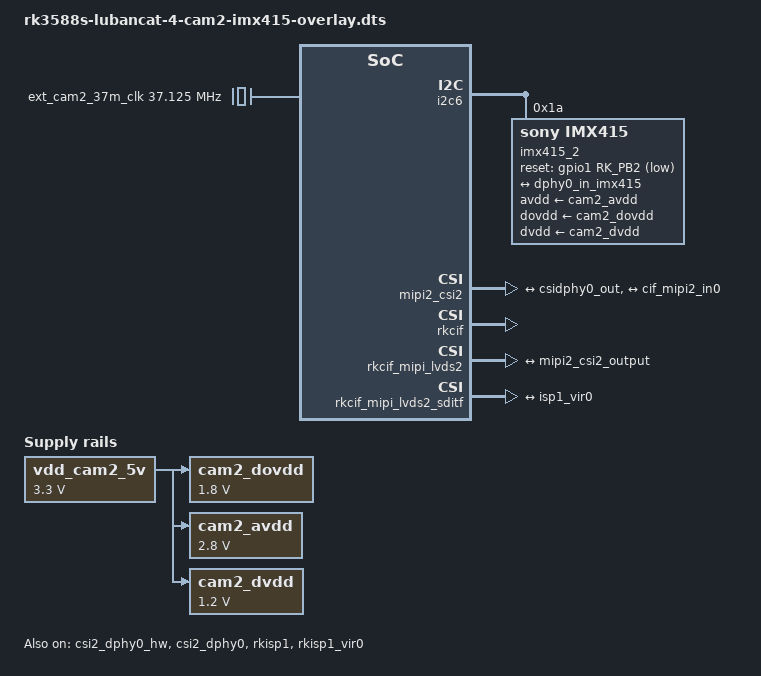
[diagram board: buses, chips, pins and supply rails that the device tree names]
/dts-v1/;
/plugin/;

#include <dt-bindings/usb/pd.h>
#include <dt-bindings/gpio/gpio.h>
#include <dt-bindings/pwm/pwm.h>
#include <dt-bindings/pinctrl/rockchip.h>
#include <dt-bindings/input/rk-input.h>
#include <dt-bindings/display/drm_mipi_dsi.h>
#include <dt-bindings/display/rockchip_vop.h>
#include <dt-bindings/sensor-dev.h>

/ {
	fragment@0 {
		target-path = "/";
		
		__overlay__ {
			ext_cam2_37m_clk: external-camera-37m-clock {
				compatible = "fixed-clock";
				clock-frequency = <37125000>;
				clock-output-names = "ext_cam2_37m_clk";
				#clock-cells = <0>;
			};

			vdd_cam2_5v: vdd-cam2-5v-regulator {
				compatible = "regulator-fixed";
				regulator-name = "vdd_cam2_5v";
				regulator-always-on;
				regulator-boot-on;
				regulator-min-microvolt = <3300000>;
				regulator-max-microvolt = <3300000>;
			};

			cam2_dovdd: cam2-dovdd {
				compatible = "regulator-fixed";
				regulator-name = "cam2_dovdd";
				regulator-always-on;
				regulator-boot-on;
				regulator-min-microvolt = <1800000>;
				regulator-max-microvolt = <1800000>;
				vin-supply = <&vdd_cam2_5v>;
			};

			cam2_avdd: cam2-avdd {
				compatible = "regulator-fixed";
				regulator-name = "cam2_avdd";
				regulator-always-on;
				regulator-boot-on;
				regulator-min-microvolt = <2800000>;
				regulator-max-microvolt = <2800000>;
				vin-supply = <&vdd_cam2_5v>;
			};

			cam2_dvdd: cam2-dvdd {
				compatible = "regulator-fixed";
				regulator-name = "cam2_dvdd";
				regulator-always-on;
				regulator-boot-on;
				regulator-min-microvolt = <1200000>;
				regulator-max-microvolt = <1200000>;
				vin-supply = <&vdd_cam2_5v>;
			};
		};
	};

	/* Link path: sensor->csi2_dphy0->mipi2_csi2->rkcif_mipi_lvds2--->rkcif_mipi_lvds2_sditf->rkisp0_vir2 */
	fragment@1 {
		target = <&i2c6>;	

		__overlay__ {
			status = "okay";
			pinctrl-names = "default";
			pinctrl-0 = <&i2c6m3_xfer>;
			#address-cells = <1>;
			#size-cells = <0>;

			imx415_2: imx415-2@1a {
				compatible = "sony,imx415";
				status = "okay";
				reg = <0x1a>;
				clocks = <&ext_cam2_37m_clk>;
				clock-names = "xvclk";
				avdd-supply = <&cam2_avdd>;
				dovdd-supply = <&cam2_dovdd>;
				dvdd-supply = <&cam2_dvdd>;
				reset-gpios = <&gpio1 RK_PB2 GPIO_ACTIVE_LOW>;

				rockchip,camera-module-index = <2>;
				rockchip,camera-module-facing = "back";
				rockchip,camera-module-name = "CMK-OT2022-PX1";
				rockchip,camera-module-lens-name = "IR0147-50IRC-8M-F20";
				port {
					imx415_out2: endpoint {
						remote-endpoint = <&dphy0_in_imx415>;
						data-lanes = <1 2 3 4>;
					};
				};
			};
		};
	};

	fragment@2 {
		target = <&csi2_dphy0_hw>;	

		__overlay__ {
			status = "okay";
		};
	};

	fragment@3 {
		target = <&csi2_dphy0>;	

		__overlay__ {
			status = "okay";

			ports {
				#address-cells = <1>;
				#size-cells = <0>;			
				port@0 {
					reg = <0>;
					#address-cells = <1>;
					#size-cells = <0>;			

					dphy0_in_imx415: endpoint@5 {
						reg = <5>;
						remote-endpoint = <&imx415_out2>;
						data-lanes = <1 2 3 4>;
					};
				};			
				port@1 {
					reg = <1>;
					#address-cells = <1>;
					#size-cells = <0>;			
					csidphy0_out: endpoint@0 {
						reg = <0>;
						remote-endpoint = <&mipi2_csi2_input>;
					};
				};
			};
		};
	};

	fragment@4 {
		target = <&mipi2_csi2>;	

		__overlay__ {
			status = "okay";

			ports {
				#address-cells = <1>;
				#size-cells = <0>;			
				port@0 {
					reg = <0>;
					#address-cells = <1>;
					#size-cells = <0>;			
					mipi2_csi2_input: endpoint@1 {
						reg = <1>;
						remote-endpoint = <&csidphy0_out>;
					};
				};			
				port@1 {
					reg = <1>;
					#address-cells = <1>;
					#size-cells = <0>;			
					mipi2_csi2_output: endpoint@0 {
						reg = <0>;
						remote-endpoint = <&cif_mipi2_in0>;
					};
				};
			};
		};
	};

	fragment@5 {
		target = <&rkcif>;	

		__overlay__ {
			status = "okay";
		};
	};

	fragment@6 {
		target = <&rkcif_mipi_lvds2>;	

		__overlay__ {
			status = "okay";

			port {
				cif_mipi2_in0: endpoint {
					remote-endpoint = <&mipi2_csi2_output>;
				};
			};
		};
	};

	fragment@7 {
		target = <&rkcif_mipi_lvds2_sditf>;	

		__overlay__ {
			status = "okay";

			port {
				mipi_lvds2_sditf: endpoint {
					remote-endpoint = <&isp1_vir0>;
				};
			};
		};
	};

	fragment@8 {
		target = <&rkcif_mmu>;	

		__overlay__ {
			status = "okay";
		};
	};

	fragment@9 {
		target = <&rkisp1>;	

		__overlay__ {
			status = "okay";
		};
	};

	fragment@10 {
		target = <&isp1_mmu>;	

		__overlay__ {
			status = "okay";
		};
	};

	fragment@11 {
		target = <&rkisp1_vir0>;	

		__overlay__ {
			status = "okay";

			port {
				#address-cells = <1>;
				#size-cells = <0>;			
				isp1_vir0: endpoint@0 {
					reg = <0>;
					remote-endpoint = <&mipi_lvds2_sditf>;
				};
			};
		};
	};
};

